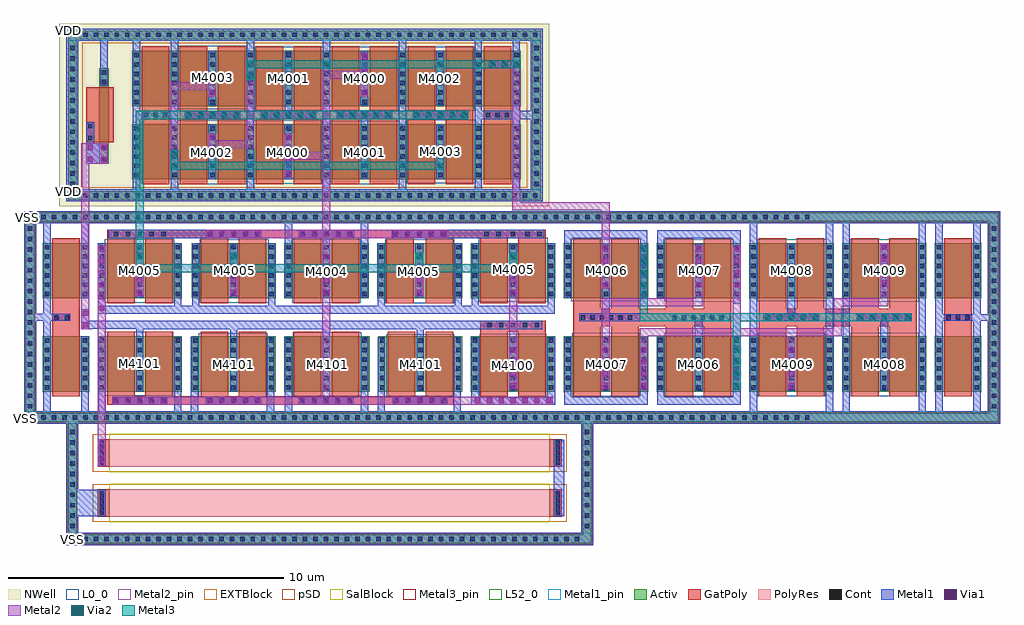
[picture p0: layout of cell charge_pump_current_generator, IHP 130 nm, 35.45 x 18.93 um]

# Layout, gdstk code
from math import pi, radians
import gdstk
lib = gdstk.Library(unit=1e-6, precision=1e-09)
def R(c, l, rs):  # rectangles x0, y0, x1, y1
    for r in rs: c.add(gdstk.rectangle(r[:2], r[2:], *l))
def A(c, l, x, y, w, h, nx, ny, dx, dy):  # array of equal rectangles
    R(c, l, [(x+i*dx, y+j*dy, x+i*dx+w, y+j*dy+h) for i in range(nx) for j in range(ny)])
def P(c, l, *ps):  # polygons
    for p in ps: c.add(gdstk.Polygon(p, *l))
L0_0 = (0, 0)
Activ = (1, 0)
GatPoly = (5, 0)
Cont = (6, 0)
Metal1 = (8, 0)
Metal1_pin = (8, 2)
Metal2 = (10, 0)
Metal2_pin = (10, 2)
pSD = (14, 0)
Via1 = (19, 0)
SalBlock = (28, 0)
Via2 = (29, 0)
Metal3 = (30, 0)
Metal3_pin = (30, 2)
NWell = (31, 0)
L52_0 = (52, 0)
EXTBlock = (111, 0)
PolyRes = (128, 0)

rppd = lib.new_cell('rppd')
R(rppd, GatPoly, [(0,-0.43,1,-0.2), (0,-0.2,1,0), (0,16,1,16.2), (0,16.2,1,16.43)])
R(rppd, Cont, [(0.07,-0.36,0.93,-0.2), (0.07,16.2,0.93,16.36)])
R(rppd, Metal1, [(0.02,-0.43,0.98,-0.13), (0.02,16.13,0.98,16.43)])
R(rppd, Metal1_pin, [(0.02,-0.43,0.98,-0.13), (0.02,16.13,0.98,16.43)])
R(rppd, pSD, [(-0.18,-0.61,1.18,0), (-0.18,0,1.18,16), (-0.18,16,1.18,16.61)])
R(rppd, SalBlock, [(-0.2,0,1.2,16)])
R(rppd, L52_0, [(0,0,1,16)])
R(rppd, EXTBlock, [(-0.18,-0.61,1.18,0), (-0.2,0,1.2,16), (-0.18,16,1.18,16.61)])
R(rppd, PolyRes, [(0,0,1,16)])
rppd.add(gdstk.Label('rppd r=4205.189', (0.5,8), layer=63, texttype=0))
rppd.add(gdstk.Label('rppd', (0.5,8), layer=52, texttype=0))

charge_pump_current_gene = lib.new_cell('charge_pump_current_generator')
R(charge_pump_current_gene, L0_0, [(12.61,0.29,15.04,2.605), (2.42,0.32,4.92,2.635), (9.22,0.33,11.69,2.59), (15.97,0.335,18.43,2.65), (22.71,0.335,25.17,2.65), (5.82,0.34,8.32,2.655), (19.325,0.345,21.825,2.65), (26.065,0.345,28.565,2.65), (-1.005,0.36,1.495,2.675), (9.195,3.725,11.695,6.04), (5.805,3.73,8.305,6.045), (-0.995,3.735,1.52,6.05), (2.455,3.735,4.955,6.05), (12.58,3.775,15.08,6.09), (12.58,3.775,15.08,6.09), (19.325,3.78,21.825,6.05), (26.065,3.78,28.565,6.05), (15.95,3.79,18.465,6.05), (22.69,3.79,25.205,6.05), (7.19,8.03,9.69,10.345), (1.65,8.04,4.15,10.355), (4.4,8.05,6.9,10.365), (9.965,8.07,12.465,10.385), (4.44,10.71,6.94,13.025), (7.175,10.71,9.675,13.025), (9.915,10.715,12.415,13.03), (1.66,10.755,4.16,13.07)])
A(charge_pump_current_gene, Activ, 8.93, 0.51, 3.06, 2, 6, 1, 3.37, 0)
A(charge_pump_current_gene, Activ, 12.3, 3.9, 3.06, 2, 5, 1, 3.37, 0)
R(charge_pump_current_gene, Activ, [(-3.25,0.51,-1.57,2.51), (-1.26,0.51,1.8,2.51), (2.15,0.51,5.21,2.51), (5.52,0.51,8.62,2.51), (29.15,0.51,30.83,2.51), (-3.25,3.9,-1.57,5.9), (-1.26,3.9,1.8,5.9), (2.15,3.9,5.21,5.9), (5.52,3.9,8.58,5.9), (8.89,3.9,11.99,5.9), (29.15,3.9,30.83,5.9), (0,8.22,14.1,10.22), (-1.21,8.78,-0.85,12.245), (0,10.88,14.1,12.88)])
P(charge_pump_current_gene, Activ, [(-2.335,-5),(-2.335,-0.59),(-2.025,-0.59),(-2.025,-4.69),(16.365,-4.69),(16.365,-0.59),(-3.87,-0.59),(-3.87,6.69),(-3.56,6.69),(-3.56,-0.28),(31.14,-0.28),(31.14,6.69),(-3.87,6.69),(-3.87,7),(31.45,7),(31.45,-0.59),(16.675,-0.59),(16.675,-5)],
  [(-2.335,7.48),(-2.335,13.31),(-2.025,13.31),(-2.025,7.79),(14.53,7.79),(14.53,13.31),(-2.335,13.31),(-2.335,13.62),(14.84,13.62),(14.84,7.48)])
A(charge_pump_current_gene, GatPoly, 1.72, 8.04, 1, 2.36, 4, 1, 1.38, 0)
A(charge_pump_current_gene, GatPoly, 5.86, 8.04, 1, 2.36, 5, 1, 1.38, 0)
A(charge_pump_current_gene, GatPoly, 1.72, 10.7, 1, 2.36, 8, 1, 1.38, 0)
R(charge_pump_current_gene, GatPoly, [(-2.91,0.33,-1.91,6.08), (29.49,0.33,30.49,6.08), (0.34,8.04,1.34,13.06), (12.76,8.04,13.76,13.06), (-1.68,9.565,-0.67,11.565), (1.72,10.4,12.38,10.7)])
P(charge_pump_current_gene, GatPoly, [(16.01,0.33),(16.01,2.69),(16.015,2.69),(16.015,3.72),(16.01,3.72),(16.01,6.08),(17.01,6.08),(17.01,3.52),(17.39,3.52),(17.39,6.08),(18.39,6.08),(18.39,3.52),(19.38,3.52),(19.38,6.08),(20.38,6.08),(20.38,3.52),(20.76,3.52),(20.76,6.08),(21.76,6.08),(21.76,0.33),(20.76,0.33),(20.76,2.89),(20.38,2.89),(20.38,0.33),(19.38,0.33),(19.38,2.89),(18.39,2.89),(18.39,0.33),(17.39,0.33),(17.39,2.89),(17.01,2.89),(17.01,0.33)],
  [(22.75,0.33),(22.75,2.69),(22.755,2.69),(22.755,3.72),(22.75,3.72),(22.75,6.08),(23.75,6.08),(23.75,3.52),(24.13,3.52),(24.13,6.08),(25.13,6.08),(25.13,3.52),(26.12,3.52),(26.12,6.08),(27.12,6.08),(27.12,3.52),(27.5,3.52),(27.5,6.08),(28.5,6.08),(28.5,0.33),(27.5,0.33),(27.5,2.89),(27.12,2.89),(27.12,0.33),(26.12,0.33),(26.12,2.89),(25.13,2.89),(25.13,0.33),(24.13,0.33),(24.13,2.89),(23.75,2.89),(23.75,0.33)],
  [(-0.92,3.72),(-0.92,6.38),(15.02,6.38),(15.02,3.72),(14.02,3.72),(14.02,6.08),(13.64,6.08),(13.64,3.72),(12.64,3.72),(12.64,6.08),(11.65,6.08),(11.65,3.72),(10.65,3.72),(10.65,6.08),(10.23,6.08),(10.23,3.72),(9.23,3.72),(9.23,6.08),(8.24,6.08),(8.24,3.72),(7.24,3.72),(7.24,6.08),(6.86,6.08),(6.86,3.72),(5.86,3.72),(5.86,6.08),(4.87,6.08),(4.87,3.72),(3.87,3.72),(3.87,6.08),(3.49,6.08),(3.49,3.72),(2.49,3.72),(2.49,6.08),(1.46,6.08),(1.46,3.72),(0.46,3.72),(0.46,6.08),(0.08,6.08),(0.08,3.72)],
  [(-0.92,0.03),(-0.92,2.69),(0.08,2.69),(0.08,0.33),(0.46,0.33),(0.46,2.69),(1.46,2.69),(1.46,0.33),(2.49,0.33),(2.49,2.69),(3.49,2.69),(3.49,0.33),(3.87,0.33),(3.87,2.69),(4.87,2.69),(4.87,0.33),(5.86,0.33),(5.86,2.69),(6.86,2.69),(6.86,0.33),(7.24,0.33),(7.24,2.69),(8.24,2.69),(8.24,0.33),(9.27,0.33),(9.27,2.69),(10.27,2.69),(10.27,0.33),(10.65,0.33),(10.65,2.69),(11.65,2.69),(11.65,0.03)],
  [(12.64,0.33),(12.64,3.08),(15.02,3.08),(15.02,0.33),(14.02,0.33),(14.02,2.685),(13.64,2.685),(13.64,0.33)])
A(charge_pump_current_gene, Cont, -2.165, -4.925, 0.16, 0.16, 49, 1, 0.38, 0)
A(charge_pump_current_gene, Cont, -2.26, -4.46, 0.16, 0.16, 1, 6, 0, 0.38)
A(charge_pump_current_gene, Cont, 16.44, -4.08, 0.16, 0.16, 1, 9, 0, 0.38)
A(charge_pump_current_gene, Cont, -2.26, -2.56, 0.16, 0.16, 1, 5, 0, 0.38)
A(charge_pump_current_gene, Cont, -3.685, -0.515, 0.16, 0.16, 75, 2, 0.38, 7.28)
A(charge_pump_current_gene, Cont, -3.795, -0.105, 0.16, 0.16, 1, 18, 0, 0.38)
A(charge_pump_current_gene, Cont, 31.215, -0.105, 0.16, 0.16, 1, 18, 0, 0.38)
A(charge_pump_current_gene, Cont, -0.67, 0.1, 0.16, 0.16, 5, 2, 0.43, 6.05)
A(charge_pump_current_gene, Cont, 2.74, 0.1, 0.16, 0.16, 5, 2, 0.43, 6.05)
A(charge_pump_current_gene, Cont, 6.095, 0.1, 0.16, 0.16, 5, 1, 0.43, 0)
A(charge_pump_current_gene, Cont, 9.505, 0.1, 0.16, 0.16, 5, 1, 0.43, 0)
A(charge_pump_current_gene, Cont, -3.18, 0.58, 0.16, 0.16, 1, 6, 0, 0.34)
A(charge_pump_current_gene, Cont, -1.19, 0.58, 0.16, 0.16, 3, 6, 1.38, 0.34)
A(charge_pump_current_gene, Cont, 2.22, 0.58, 0.16, 0.16, 3, 6, 1.38, 0.34)
A(charge_pump_current_gene, Cont, 5.59, 0.58, 0.16, 0.16, 3, 6, 1.38, 0.34)
A(charge_pump_current_gene, Cont, 9, 0.58, 0.16, 0.16, 3, 6, 1.38, 0.34)
A(charge_pump_current_gene, Cont, 12.37, 0.58, 0.16, 0.16, 3, 6, 1.38, 0.34)
A(charge_pump_current_gene, Cont, 15.74, 0.58, 0.16, 0.16, 3, 6, 1.38, 0.34)
A(charge_pump_current_gene, Cont, 19.11, 0.58, 0.16, 0.16, 3, 6, 1.38, 0.34)
A(charge_pump_current_gene, Cont, 22.48, 0.58, 0.16, 0.16, 3, 6, 1.38, 0.34)
A(charge_pump_current_gene, Cont, 25.85, 0.58, 0.16, 0.16, 3, 6, 1.38, 0.34)
A(charge_pump_current_gene, Cont, 29.22, 0.58, 0.16, 0.16, 1, 6, 0, 0.34)
A(charge_pump_current_gene, Cont, 12.89, 2.85, 0.16, 0.16, 5, 1, 0.43, 0)
A(charge_pump_current_gene, Cont, 16.29, 3.125, 0.16, 0.16, 6, 1, 0.34, 0)
A(charge_pump_current_gene, Cont, 20.3, 3.125, 0.16, 0.16, 3, 1, 0.34, 0)
A(charge_pump_current_gene, Cont, 23, 3.125, 0.16, 0.16, 5, 1, 0.43, 0)
A(charge_pump_current_gene, Cont, 26.37, 3.125, 0.16, 0.16, 5, 1, 0.43, 0)
A(charge_pump_current_gene, Cont, -3.18, 3.97, 0.16, 0.16, 1, 6, 0, 0.34)
A(charge_pump_current_gene, Cont, -1.19, 3.97, 0.16, 0.16, 1, 6, 0, 0.34)
A(charge_pump_current_gene, Cont, -1.19, 3.97, 0.16, 0.16, 3, 6, 1.38, 0.34)
A(charge_pump_current_gene, Cont, 2.22, 3.97, 0.16, 0.16, 3, 6, 1.38, 0.34)
A(charge_pump_current_gene, Cont, 5.59, 3.97, 0.16, 0.16, 3, 6, 1.38, 0.34)
A(charge_pump_current_gene, Cont, 8.96, 3.97, 0.16, 0.16, 1, 6, 0, 0.34)
A(charge_pump_current_gene, Cont, 10.34, 3.97, 0.16, 0.16, 1, 6, 0, 0.34)
A(charge_pump_current_gene, Cont, 11.76, 3.97, 0.16, 0.16, 1, 6, 0, 0.34)
A(charge_pump_current_gene, Cont, 12.37, 3.97, 0.16, 0.16, 3, 6, 1.38, 0.34)
A(charge_pump_current_gene, Cont, 15.74, 3.97, 0.16, 0.16, 1, 6, 0, 0.34)
A(charge_pump_current_gene, Cont, 15.74, 3.97, 0.16, 0.16, 3, 6, 1.38, 0.34)
A(charge_pump_current_gene, Cont, 19.11, 3.97, 0.16, 0.16, 3, 6, 1.38, 0.34)
A(charge_pump_current_gene, Cont, 21.87, 3.97, 0.16, 0.16, 1, 6, 0, 0.34)
A(charge_pump_current_gene, Cont, 22.48, 3.97, 0.16, 0.16, 1, 6, 0, 0.34)
A(charge_pump_current_gene, Cont, 22.48, 3.97, 0.16, 0.16, 3, 6, 1.38, 0.34)
A(charge_pump_current_gene, Cont, 25.85, 3.97, 0.16, 0.16, 3, 6, 1.38, 0.34)
A(charge_pump_current_gene, Cont, 28.61, 3.97, 0.16, 0.16, 1, 6, 0, 0.34)
A(charge_pump_current_gene, Cont, 29.22, 3.97, 0.16, 0.16, 1, 6, 0, 0.34)
A(charge_pump_current_gene, Cont, 6.11, 6.15, 0.16, 0.16, 5, 1, 0.43, 0)
A(charge_pump_current_gene, Cont, 9.48, 6.15, 0.16, 0.16, 5, 1, 0.43, 0)
A(charge_pump_current_gene, Cont, -2.165, 7.555, 0.16, 0.16, 45, 2, 0.38, 5.835)
A(charge_pump_current_gene, Cont, -2.26, 7.965, 0.16, 0.16, 1, 14, 0, 0.38)
A(charge_pump_current_gene, Cont, 14.605, 7.965, 0.16, 0.16, 1, 14, 0, 0.38)
A(charge_pump_current_gene, Cont, 0.07, 8.29, 0.16, 0.16, 11, 6, 1.38, 0.34)
A(charge_pump_current_gene, Cont, 0.42, 10.47, 0.16, 0.16, 3, 1, 0.34, 0)
A(charge_pump_current_gene, Cont, 1.97, 10.47, 0.16, 0.16, 5, 1, 0.43, 0)
A(charge_pump_current_gene, Cont, 4.73, 10.47, 0.16, 0.16, 5, 1, 0.43, 0)
A(charge_pump_current_gene, Cont, 7.49, 10.47, 0.16, 0.16, 5, 1, 0.43, 0)
A(charge_pump_current_gene, Cont, 10.25, 10.47, 0.16, 0.16, 5, 1, 0.43, 0)
A(charge_pump_current_gene, Cont, 12.84, 10.47, 0.16, 0.16, 3, 1, 0.34, 0)
A(charge_pump_current_gene, Cont, 0.07, 10.95, 0.16, 0.16, 11, 6, 1.38, 0.34)
R(charge_pump_current_gene, Cont, [(16.44,-4.46,16.6,-4.3), (16.44,-4.08,16.6,-3.92), (-1.8,0.58,-1.64,0.74), (-1.8,0.58,-1.64,0.74), (30.6,0.58,30.76,0.74), (30.6,0.58,30.76,0.74), (-1.8,0.92,-1.64,1.08), (-1.8,0.92,-1.64,1.08), (30.6,0.92,30.76,1.08), (30.6,0.92,30.76,1.08), (-1.8,1.26,-1.64,1.42), (-1.8,1.26,-1.64,1.42), (30.6,1.26,30.76,1.42), (30.6,1.26,30.76,1.42), (-1.8,1.6,-1.64,1.76), (-1.8,1.6,-1.64,1.76), (30.6,1.6,30.76,1.76), (30.6,1.6,30.76,1.76), (-1.8,1.94,-1.64,2.1), (-1.8,1.94,-1.64,2.1), (30.6,1.94,30.76,2.1), (30.6,1.94,30.76,2.1), (-1.8,2.28,-1.64,2.44), (-1.8,2.28,-1.64,2.44), (30.6,2.28,30.76,2.44), (30.6,2.28,30.76,2.44), (30.25,3.12,30.41,3.28), (-2.84,3.125,-2.68,3.285), (-2.46,3.125,-2.3,3.285), (19.62,3.125,19.78,3.285), (19.96,3.125,20.12,3.285), (19.96,3.125,20.12,3.285), (20.3,3.125,20.46,3.285), (20.98,3.125,21.14,3.285), (21.32,3.125,21.48,3.285), (29.57,3.125,29.73,3.285), (29.91,3.125,30.07,3.285), (-1.8,3.97,-1.64,4.13), (-1.8,3.97,-1.64,4.13), (30.6,3.97,30.76,4.13), (30.6,3.97,30.76,4.13), (-1.8,4.31,-1.64,4.47), (-1.8,4.31,-1.64,4.47), (30.6,4.31,30.76,4.47), (30.6,4.31,30.76,4.47), (-1.8,4.65,-1.64,4.81), (-1.8,4.65,-1.64,4.81), (30.6,4.65,30.76,4.81), (30.6,4.65,30.76,4.81), (-1.8,4.99,-1.64,5.15), (-1.8,4.99,-1.64,5.15), (30.6,4.99,30.76,5.15), (30.6,4.99,30.76,5.15), (-1.8,5.33,-1.64,5.49), (-1.8,5.33,-1.64,5.49), (30.6,5.33,30.76,5.49), (30.6,5.33,30.76,5.49), (-1.8,5.67,-1.64,5.83), (-1.8,5.67,-1.64,5.83), (30.6,5.67,30.76,5.83), (30.6,5.67,30.76,5.83), (14.28,6.145,14.44,6.305), (14.71,6.145,14.87,6.305), (12.79,6.15,12.95,6.31), (13.22,6.15,13.38,6.31), (13.75,6.15,13.91,6.31), (-1.11,8.865,-0.95,9.025), (-1.11,9.295,-0.95,9.455), (-1.61,9.635,-1.45,9.795), (-1.61,10.065,-1.45,10.225), (-1.11,11.675,-0.95,11.835), (-1.11,12.015,-0.95,12.175)])
R(charge_pump_current_gene, Metal1, [(15.3,-4.015,15.68,-1.235), (-0.735,0.035,1.275,0.325), (2.675,0.035,4.685,0.325), (6.03,0.035,8.04,0.325), (9.44,0.035,11.45,0.325), (13.685,0.53,13.975,2.49), (17.055,0.53,17.345,2.49), (23.795,0.53,24.085,2.49), (3.535,3.91,3.825,5.88), (0.125,3.92,0.415,5.89), (10.275,3.92,10.565,5.88), (13.685,3.92,13.975,5.88), (20.425,3.92,20.715,5.88), (27.165,3.92,27.455,5.895), (-0.875,6.08,4.685,6.38), (9.415,6.08,14.955,6.38), (2.765,8.22,3.055,10.2), (5.525,8.22,5.815,10.2), (11.045,8.22,11.335,10.2), (1.905,10.4,3.915,10.7), (10.185,10.4,12.195,10.7), (2.765,10.9,3.055,12.88), (8.285,10.9,8.575,12.88), (11.045,10.9,11.335,12.88)])
P(charge_pump_current_gene, Metal1, [(19.06,0.035),(19.06,2.49),(19.32,2.49),(19.32,0.325),(21.805,0.325),(21.805,2.49),(22.095,2.49),(22.095,0.035)],
  [(15.69,0.035),(15.69,2.49),(15.95,2.49),(15.95,0.325),(18.435,0.325),(18.435,2.49),(18.725,2.49),(18.725,0.035)],
  [(21.805,3.69),(21.805,6.08),(19.32,6.08),(19.32,3.92),(19.06,3.92),(19.06,6.37),(22.095,6.37),(22.095,3.69)],
  [(-2.4,7.415),(-2.4,13.245),(-0.9,13.245),(-0.9,11.625),(-1.16,11.625),(-1.16,13.245),(-1.96,13.245),(-1.96,7.855),(0.02,7.855),(0.02,10.4),(0.28,10.4),(0.28,7.855),(1.4,7.855),(1.4,10.4),(0.02,10.4),(0.02,13.245),(0.28,13.245),(0.28,10.7),(1.4,10.7),(1.4,13.245),(1.66,13.245),(1.66,7.855),(4.16,7.855),(4.16,13.245),(4.42,13.245),(4.42,7.855),(6.92,7.855),(6.92,13.245),(7.18,13.245),(7.18,7.855),(9.68,7.855),(9.68,13.245),(9.94,13.245),(9.94,7.855),(12.44,7.855),(12.44,10.4),(12.7,10.4),(12.7,7.855),(13.82,7.855),(13.82,10.4),(14.08,10.4),(14.08,7.855),(14.465,7.855),(14.465,10.4),(12.44,10.4),(12.44,13.245),(12.7,13.245),(12.7,10.7),(13.82,10.7),(13.82,13.245),(14.08,13.245),(14.08,10.7),(14.465,10.7),(14.465,13.245),(-2.4,13.245),(-2.4,13.685),(14.905,13.685),(14.905,7.415)],
  [(-2.4,-5.065),(-2.4,-0.655),(-1.96,-0.655),(-1.96,-3.055),(-0.96,-3.055),(-0.96,-4.015),(-1.96,-4.015),(-1.96,-4.625),(16.3,-4.625),(16.3,-0.655),(-3.935,-0.655),(-3.935,3.075),(-3.495,3.075),(-3.495,-0.215),(-3.23,-0.215),(-3.23,3.075),(-3.935,3.075),(-3.935,6.625),(-3.495,6.625),(-3.495,3.335),(-3.23,3.335),(-3.23,6.625),(8.56,6.625),(8.56,3.92),(8.3,3.92),(8.3,6.625),(5.8,6.625),(5.8,3.92),(5.54,3.92),(5.54,6.625),(-1.59,6.625),(-1.59,3.9),(-1.85,3.9),(-1.85,6.625),(-2.97,6.625),(-2.97,3.335),(-2.25,3.335),(-2.25,3.075),(-2.97,3.075),(-2.97,-0.215),(-1.85,-0.215),(-1.85,2.51),(-1.59,2.51),(-1.59,-0.215),(-1.24,-0.215),(-1.24,2.49),(-0.98,2.49),(-0.98,-0.215),(1.52,-0.215),(1.52,2.49),(1.78,2.49),(1.78,-0.215),(2.13,-0.215),(2.13,2.5),(2.39,2.5),(2.39,-0.215),(4.89,-0.215),(4.89,2.49),(5.15,2.49),(5.15,-0.215),(5.54,-0.215),(5.54,2.49),(5.8,2.49),(5.8,-0.215),(8.3,-0.215),(8.3,2.49),(8.56,2.49),(8.56,-0.215),(8.91,-0.215),(8.91,2.49),(9.17,2.49),(9.17,-0.215),(11.67,-0.215),(11.67,2.49),(11.93,2.49),(11.93,-0.215),(22.43,-0.215),(22.43,6.625),(22.69,6.625),(22.69,-0.215),(25.19,-0.215),(25.19,6.625),(25.45,6.625),(25.45,-0.215),(25.8,-0.215),(25.8,6.625),(26.06,6.625),(26.06,-0.215),(28.56,-0.215),(28.56,6.625),(28.82,6.625),(28.82,-0.215),(29.17,-0.215),(29.17,3.075),(29.43,3.075),(29.43,-0.215),(30.55,-0.215),(30.55,3.075),(30.81,3.075),(30.81,-0.215),(31.075,-0.215),(31.075,3.075),(29.17,3.075),(29.17,6.625),(29.43,6.625),(29.43,3.325),(30.55,3.325),(30.55,6.625),(30.81,6.625),(30.81,3.325),(31.075,3.325),(31.075,6.625),(-3.935,6.625),(-3.935,7.065),(31.515,7.065),(31.515,-0.655),(16.74,-0.655),(16.74,-5.065)],
  [(20.425,0.53),(20.425,3.06),(16.225,3.06),(16.225,3.35),(17.055,3.35),(17.055,5.88),(17.345,5.88),(17.345,3.35),(21.72,3.35),(21.72,3.06),(20.715,3.06),(20.715,0.53)],
  [(15.69,3.92),(15.69,6.375),(18.71,6.375),(18.71,3.92),(18.45,3.92),(18.45,6.085),(15.95,6.085),(15.95,3.92)],
  [(27.165,0.53),(27.165,3.06),(26.305,3.06),(26.305,3.35),(28.315,3.35),(28.315,3.06),(27.455,3.06),(27.455,0.53)],
  [(22.915,3.06),(22.915,3.35),(23.795,3.35),(23.795,5.88),(24.085,5.88),(24.085,3.35),(24.945,3.35),(24.945,3.06)],
  [(6.92,3.92),(6.92,6.08),(6.045,6.08),(6.045,6.38),(8.055,6.38),(8.055,6.08),(7.18,6.08),(7.18,3.92)],
  [(8.3,8.24),(8.3,10.4),(7.425,10.4),(7.425,10.7),(9.435,10.7),(9.435,10.4),(8.56,10.4),(8.56,8.24)],
  [(4.665,10.4),(4.665,10.7),(5.54,10.7),(5.54,12.86),(5.8,12.86),(5.8,10.7),(6.675,10.7),(6.675,10.4)],
  [(12.305,0.035),(12.305,2.49),(12.595,2.49),(12.595,0.325),(15.065,0.325),(15.065,2.49),(15.355,2.49),(15.355,0.035)],
  [(-1.675,8.78),(-1.675,10.29),(-1.385,10.29),(-1.385,9.52),(-0.885,9.52),(-0.885,8.78)],
  [(0.14,0.52),(0.14,2.775),(-1.47,2.775),(-1.47,2.78),(-1.85,2.78),(-1.85,3.5),(-1.56,3.5),(-1.56,3.08),(14.885,3.08),(14.885,2.78),(10.59,2.78),(10.59,0.53),(10.33,0.53),(10.33,2.78),(7.18,2.78),(7.18,0.53),(6.92,0.53),(6.92,2.78),(3.81,2.78),(3.81,0.52),(3.55,0.52),(3.55,2.78),(0.4,2.78),(0.4,0.52)],
  [(-1.255,3.33),(-1.255,5.9),(-0.965,5.9),(-0.965,3.62),(1.52,3.62),(1.52,5.9),(1.78,5.9),(1.78,3.62),(2.17,3.62),(2.17,5.9),(2.43,5.9),(2.43,3.62),(4.93,3.62),(4.93,5.9),(5.19,5.9),(5.19,3.62),(8.91,3.62),(8.91,5.9),(9.17,5.9),(9.17,3.62),(11.71,3.62),(11.71,5.9),(11.97,5.9),(11.97,3.62),(12.32,3.62),(12.32,5.9),(12.58,5.9),(12.58,3.62),(15.08,3.62),(15.08,5.9),(15.34,5.9),(15.34,3.33)])
R(charge_pump_current_gene, Metal1_pin, [(-2.4,-5.065,16.74,-4.625), (-3.935,-0.655,31.515,-0.215), (-3.935,6.625,31.515,7.065), (-2.4,7.415,14.905,7.855), (-2.4,13.245,14.905,13.685)])
A(charge_pump_current_gene, Metal2, 1.905, 10.4, 2.01, 0.3, 4, 1, 2.76, 0)
R(charge_pump_current_gene, Metal2, [(-1.255,-2.205,-0.965,5.825), (13.685,0.585,13.975,5.555), (21.805,0.585,22.095,2.165), (22.915,3.06,24.945,3.35), (26.305,3.06,28.315,3.35), (0.125,3.975,0.415,5.555), (3.535,3.975,3.825,5.555), (10.275,3.975,10.565,5.555), (18.435,4.245,18.725,5.825), (11.045,8.565,11.335,9.285), (11.045,11.815,11.335,12.535)])
P(charge_pump_current_gene, Metal2, [(17.055,4.245),(17.055,7.095),(13.805,7.095),(13.805,12.245),(12.945,12.245),(12.945,12.535),(14.095,12.535),(14.095,7.385),(17.345,7.385),(17.345,4.245)],
  [(17.055,0.585),(17.055,3.895),(20.425,3.895),(20.425,5.825),(20.715,5.825),(20.715,3.605),(17.345,3.605),(17.345,0.585)],
  [(18.435,0.585),(18.435,2.815),(21.805,2.815),(21.805,5.825),(22.095,5.825),(22.095,2.815),(25.48,2.815),(25.48,3.89),(27.165,3.89),(27.165,5.895),(27.455,5.895),(27.455,3.6),(25.77,3.6),(25.77,2.525),(24.085,2.525),(24.085,0.585),(23.795,0.585),(23.795,2.525),(18.725,2.525),(18.725,0.585)],
  [(2.765,9.155),(2.765,9.875),(3.055,9.875),(3.055,9.645),(4.145,9.645),(4.145,12.535),(4.435,12.535),(4.435,9.355),(3.055,9.355),(3.055,9.155)],
  [(1.385,8.565),(1.385,11.745),(2.765,11.745),(2.765,11.945),(3.055,11.945),(3.055,11.225),(2.765,11.225),(2.765,11.455),(1.675,11.455),(1.675,8.565)],
  [(-0.735,0.035),(-0.735,0.325),(6.905,0.325),(6.905,6.08),(2.675,6.08),(2.675,6.38),(6.905,6.38),(6.905,8.925),(5.815,8.925),(5.815,8.295),(5.525,8.295),(5.525,9.875),(5.815,9.875),(5.815,9.215),(6.905,9.215),(6.905,12.16),(8.285,12.16),(8.285,12.805),(8.575,12.805),(8.575,11.225),(8.285,11.225),(8.285,11.87),(7.195,11.87),(7.195,6.38),(11.425,6.38),(11.425,6.08),(7.195,6.08),(7.195,0.325),(15.265,0.325),(15.265,0.035)],
  [(-1.85,2.78),(-1.85,9.52),(-0.885,9.52),(-0.885,8.78),(-1.56,8.78),(-1.56,2.78)])
R(charge_pump_current_gene, Metal2_pin, [(20.425,4.13,20.715,5.825)])
R(charge_pump_current_gene, pSD, [(-1.82,7.92,14.335,13.18)])
P(charge_pump_current_gene, pSD, [(-2.365,-5.03),(-2.365,-0.62),(-1.995,-0.62),(-1.995,-4.66),(16.335,-4.66),(16.335,-0.62),(-3.9,-0.62),(-3.9,6.66),(-3.53,6.66),(-3.53,-0.25),(31.11,-0.25),(31.11,6.66),(-3.9,6.66),(-3.9,7.03),(31.48,7.03),(31.48,-0.62),(16.705,-0.62),(16.705,-5.03)])
A(charge_pump_current_gene, Via1, -0.685, 0.085, 0.19, 0.19, 5, 1, 0.43, 0)
A(charge_pump_current_gene, Via1, 2.725, 0.085, 0.19, 0.19, 5, 2, 0.43, 6.05)
A(charge_pump_current_gene, Via1, 6.08, 0.085, 0.19, 0.19, 5, 1, 0.43, 0)
A(charge_pump_current_gene, Via1, 9.49, 0.085, 0.19, 0.19, 5, 1, 0.43, 0)
A(charge_pump_current_gene, Via1, 12.445, 0.085, 0.19, 0.19, 6, 1, 0.43, 0)
A(charge_pump_current_gene, Via1, 13.735, 0.635, 0.19, 0.19, 1, 4, 0, 0.43)
A(charge_pump_current_gene, Via1, 17.105, 0.635, 0.19, 0.19, 1, 4, 0, 0.43)
A(charge_pump_current_gene, Via1, 18.485, 0.635, 0.19, 0.19, 1, 4, 0, 0.43)
A(charge_pump_current_gene, Via1, 21.855, 0.635, 0.19, 0.19, 1, 4, 0, 0.43)
A(charge_pump_current_gene, Via1, 23.845, 0.635, 0.19, 0.19, 1, 4, 0, 0.43)
A(charge_pump_current_gene, Via1, 22.985, 3.11, 0.19, 0.19, 5, 1, 0.43, 0)
A(charge_pump_current_gene, Via1, 26.355, 3.11, 0.19, 0.19, 5, 1, 0.43, 0)
A(charge_pump_current_gene, Via1, -1.205, 3.435, 0.19, 0.19, 1, 6, 0, 0.43)
A(charge_pump_current_gene, Via1, 0.175, 4.025, 0.19, 0.19, 1, 4, 0, 0.43)
A(charge_pump_current_gene, Via1, 3.585, 4.025, 0.19, 0.19, 3, 4, 3.37, 0.43)
A(charge_pump_current_gene, Via1, 13.735, 4.025, 0.19, 0.19, 1, 4, 0, 0.43)
A(charge_pump_current_gene, Via1, 17.105, 4.295, 0.19, 0.19, 1, 4, 0, 0.43)
A(charge_pump_current_gene, Via1, 18.485, 4.295, 0.19, 0.19, 1, 4, 0, 0.43)
A(charge_pump_current_gene, Via1, 20.475, 4.295, 0.19, 0.19, 1, 4, 0, 0.43)
A(charge_pump_current_gene, Via1, 21.855, 4.295, 0.19, 0.19, 1, 4, 0, 0.43)
A(charge_pump_current_gene, Via1, 27.215, 4.365, 0.19, 0.19, 1, 4, 0, 0.43)
A(charge_pump_current_gene, Via1, 6.095, 6.135, 0.19, 0.19, 5, 1, 0.43, 0)
A(charge_pump_current_gene, Via1, 9.465, 6.135, 0.19, 0.19, 5, 1, 0.43, 0)
A(charge_pump_current_gene, Via1, 5.575, 8.345, 0.19, 0.19, 1, 4, 0, 0.43)
A(charge_pump_current_gene, Via1, 1.955, 10.455, 0.19, 0.19, 5, 1, 0.43, 0)
A(charge_pump_current_gene, Via1, 4.715, 10.455, 0.19, 0.19, 5, 1, 0.43, 0)
A(charge_pump_current_gene, Via1, 7.475, 10.455, 0.19, 0.19, 5, 1, 0.43, 0)
A(charge_pump_current_gene, Via1, 10.235, 10.455, 0.19, 0.19, 5, 1, 0.43, 0)
A(charge_pump_current_gene, Via1, 8.335, 11.275, 0.19, 0.19, 1, 4, 0, 0.43)
R(charge_pump_current_gene, Via1, [(-1.205,-2.04,-1.015,-1.85), (-1.205,-1.61,-1.015,-1.42), (14.595,0.085,14.785,0.275), (15.025,0.085,15.215,0.275), (-1.8,2.83,-1.61,3.02), (-1.8,3.26,-1.61,3.45), (11.095,8.615,11.285,8.805), (-1.625,8.85,-1.435,9.04), (-1.125,8.85,-0.935,9.04), (11.095,9.045,11.285,9.235), (2.815,9.205,3.005,9.395), (-1.625,9.28,-1.435,9.47), (-1.125,9.28,-0.935,9.47), (2.815,9.635,3.005,9.825), (2.815,11.275,3.005,11.465), (2.815,11.705,3.005,11.895), (11.095,11.865,11.285,12.055), (11.095,12.295,11.285,12.485)])
A(charge_pump_current_gene, Via2, 21.855, 0.635, 0.19, 0.19, 1, 4, 0, 0.43)
A(charge_pump_current_gene, Via2, 22.985, 3.11, 0.19, 0.19, 5, 1, 0.43, 0)
A(charge_pump_current_gene, Via2, 26.355, 3.11, 0.19, 0.19, 5, 1, 0.43, 0)
A(charge_pump_current_gene, Via2, 18.485, 4.295, 0.19, 0.19, 1, 4, 0, 0.43)
A(charge_pump_current_gene, Via2, 1.955, 10.455, 0.19, 0.19, 5, 1, 0.43, 0)
A(charge_pump_current_gene, Via2, 4.715, 10.455, 0.19, 0.19, 5, 1, 0.43, 0)
A(charge_pump_current_gene, Via2, 7.475, 10.455, 0.19, 0.19, 5, 1, 0.43, 0)
A(charge_pump_current_gene, Via2, 10.235, 10.455, 0.19, 0.19, 5, 1, 0.43, 0)
A(charge_pump_current_gene, Via2, 12.995, 12.295, 0.19, 0.19, 3, 1, 0.43, 0)
R(charge_pump_current_gene, Via2, [(0.175,4.885,0.365,5.075), (3.585,4.885,3.775,5.075), (10.325,4.885,10.515,5.075), (13.735,4.885,13.925,5.075), (0.175,5.315,0.365,5.505), (3.585,5.315,3.775,5.505), (10.325,5.315,10.515,5.505), (13.735,5.315,13.925,5.505), (1.435,8.615,1.625,8.805), (11.095,8.615,11.285,8.805), (1.435,9.045,1.625,9.235), (11.095,9.045,11.285,9.235), (4.195,11.865,4.385,12.055), (11.095,11.865,11.285,12.055), (4.195,12.295,4.385,12.485), (11.095,12.295,11.285,12.485)])
P(charge_pump_current_gene, Metal3, [(21.805,0.585),(21.805,3.06),(18.435,3.06),(18.435,5.825),(18.725,5.825),(18.725,3.35),(28.315,3.35),(28.315,3.06),(22.095,3.06),(22.095,0.585)],
  [(4.145,11.815),(4.145,12.535),(14.095,12.535),(14.095,12.245),(11.335,12.245),(11.335,11.815),(11.045,11.815),(11.045,12.245),(4.435,12.245),(4.435,11.815)],
  [(1.385,8.565),(1.385,9.285),(1.675,9.285),(1.675,8.855),(11.045,8.855),(11.045,9.285),(11.335,9.285),(11.335,8.565)],
  [(0.125,4.835),(0.125,10.7),(12.195,10.7),(12.195,10.4),(0.415,10.4),(0.415,5.125),(3.535,5.125),(3.535,5.555),(3.825,5.555),(3.825,5.125),(10.275,5.125),(10.275,5.555),(10.565,5.555),(10.565,5.125),(13.685,5.125),(13.685,5.555),(13.975,5.555),(13.975,4.835)])
R(charge_pump_current_gene, Metal3_pin, [(11.045,8.565,11.335,9.285)])
R(charge_pump_current_gene, NWell, [(-2.65,7.24,15.15,13.86)])
charge_pump_current_gene.add(gdstk.Reference(rppd, (-0.83,-3.035), rotation=3*pi/2))
charge_pump_current_gene.add(gdstk.Reference(rppd, (-0.83,-1.215), rotation=3*pi/2))
charge_pump_current_gene.add(gdstk.Label('M4006', (17.21,4.89), layer=0, texttype=0))
charge_pump_current_gene.add(gdstk.Label('M4008', (23.95,4.89), layer=0, texttype=0))
charge_pump_current_gene.add(gdstk.Label('M4009', (23.97,1.49), layer=0, texttype=0))
charge_pump_current_gene.add(gdstk.Label('M4008', (27.305,1.49), layer=0, texttype=0))
charge_pump_current_gene.add(gdstk.Label('M4009', (27.325,4.89), layer=0, texttype=0))
charge_pump_current_gene.add(gdstk.Label('M4006', (17.21,4.89), layer=0, texttype=0))
charge_pump_current_gene.add(gdstk.Label('M4007', (17.23,1.49), layer=0, texttype=0))
charge_pump_current_gene.add(gdstk.Label('M4006', (20.565,1.49), layer=0, texttype=0))
charge_pump_current_gene.add(gdstk.Label('M4007', (20.585,4.89), layer=0, texttype=0))
charge_pump_current_gene.add(gdstk.Label('M4005', (0.26,4.89), layer=0, texttype=0))
charge_pump_current_gene.add(gdstk.Label('M4005', (3.715,4.89), layer=0, texttype=0))
charge_pump_current_gene.add(gdstk.Label('M4101', (10.48,1.485), layer=0, texttype=0))
charge_pump_current_gene.add(gdstk.Label('M4101', (7.075,1.485), layer=0, texttype=0))
charge_pump_current_gene.add(gdstk.Label('M4101', (0.255,1.515), layer=0, texttype=0))
charge_pump_current_gene.add(gdstk.Label('M4101', (3.68,1.475), layer=0, texttype=0))
charge_pump_current_gene.add(gdstk.Label('M4100', (13.81,1.445), layer=0, texttype=0))
charge_pump_current_gene.add(gdstk.Label('M4005', (13.84,4.93), layer=0, texttype=0))
charge_pump_current_gene.add(gdstk.Label('M4005', (10.41,4.885), layer=0, texttype=0))
charge_pump_current_gene.add(gdstk.Label('M4004', (7.065,4.885), layer=0, texttype=0))
charge_pump_current_gene.add(gdstk.Label('M4000', (8.415,11.865), layer=0, texttype=0))
charge_pump_current_gene.add(gdstk.Label('M4002', (11.155,11.87), layer=0, texttype=0))
charge_pump_current_gene.add(gdstk.Label('M4002', (2.89,9.195), layer=0, texttype=0))
charge_pump_current_gene.add(gdstk.Label('M4001', (8.43,9.185), layer=0, texttype=0))
charge_pump_current_gene.add(gdstk.Label('M4003', (2.9,11.91), layer=0, texttype=0))
charge_pump_current_gene.add(gdstk.Label('M4003', (11.205,9.225), layer=0, texttype=0))
charge_pump_current_gene.add(gdstk.Label('M4001', (5.68,11.865), layer=0, texttype=0))
charge_pump_current_gene.add(gdstk.Label('M4000', (5.645,9.195), layer=0, texttype=0))
charge_pump_current_gene.add(gdstk.Label('VDD', (-2.335,13.61), layer=8, texttype=25))
charge_pump_current_gene.add(gdstk.Label('VDD', (-2.305,7.765), layer=8, texttype=25))
charge_pump_current_gene.add(gdstk.Label('VSS', (-2.16,-4.875), layer=8, texttype=25))
charge_pump_current_gene.add(gdstk.Label('VSS', (-3.875,-0.455), layer=8, texttype=25))
charge_pump_current_gene.add(gdstk.Label('VSS', (-3.795,6.835), layer=8, texttype=25))
charge_pump_current_gene.add(gdstk.Label('current_source', (11.17,8.91), layer=30, texttype=25))
charge_pump_current_gene.add(gdstk.Label('current_sink', (20.525,4.475), layer=10, texttype=25))

lib.write_gds('charge_pump_current_generator.gds')
